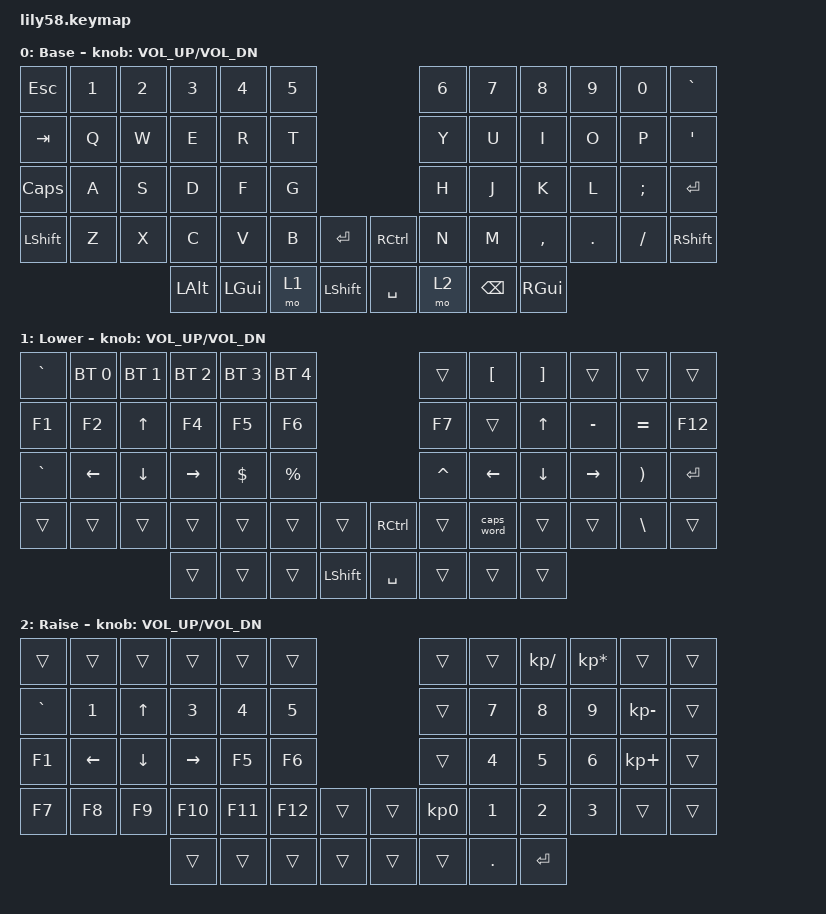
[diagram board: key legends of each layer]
/*
 * Copyright (c) 2020 The ZMK Contributors
 *
 * SPDX-License-Identifier: MIT
 */

#include <behaviors.dtsi>
#include <dt-bindings/zmk/bt.h>
#include <dt-bindings/zmk/keys.h>

/ {
    keymap {
        compatible = "zmk,keymap";

        default_layer {
            // ------------------------------------------------------------------------------------------------------------
            // |  ESC  |  1  |  2  |  3   |  4   |  5   |                   |  6   |  7    |  8    |  9   |   0   |   `   |
            // |  TAB  |  Q  |  W  |  E   |  R   |  T   |                   |  Y   |  U    |  I    |  O   |   P   |   -   |
            // |  CTRL |  A  |  S  |  D   |  F   |  G   |                   |  H   |  J    |  K    |  L   |   ;   |   '   |
            // | SHIFT |  Z  |  X  |  C   |  V   |  B   |   "["  |  |  "]"  |  N   |  M    |  ,    |  .   |   /   | SHIFT |
            //                     | ALT  | GUI  | LOWER|  SPACE |  | ENTER | RAISE| BSPC  | GUI   |

            display-name = "Base";
            bindings = <
&kp ESC       &kp N1  &kp N2  &kp N3    &kp N4    &kp N5                               &kp N6  &kp N7    &kp N8     &kp N9   &kp N0    &kp GRAVE
&kp TAB       &kp Q   &kp W   &kp E     &kp R     &kp T                                &kp Y   &kp U     &kp I      &kp O    &kp P     &kp APOS
&kp CAPSLOCK  &kp A   &kp S   &kp D     &kp F     &kp G                                &kp H   &kp J     &kp K      &kp L    &kp SEMI  &kp ENTER
&kp LSHFT     &kp Z   &kp X   &kp C     &kp V     &kp B   &kp ENTER         &kp RCTRL  &kp N   &kp M     &kp COMMA  &kp DOT  &kp FSLH  &kp RSHFT
                              &kp LALT  &kp LGUI  &mo 1   &kp LEFT_SHIFT    &kp SPACE  &mo 2   &kp BSPC  &kp RGUI
            >;

            sensor-bindings = <&inc_dec_kp C_VOL_UP C_VOL_DN>;
        };

        lower_layer {
            // ------------------------------------------------------------------------------------------------------------
            // | BTCLR | BT1 | BT2 |  BT3 |  BT4 |  BT5 |                   |      |       |       |      |       |       |
            // |  F1   |  F2 |  F3 |  F4  |  F5  |  F6  |                   |  F7  |  F8   |  F9   |  F10 |  F11  |  F12  |
            // |   `   |  !  |  @  |  #   |  $   |  %   |                   |  ^   |  &    |  *    |  (   |   )   |   ~   |
            // |       |     |     |      |      |      |        |  |       |      |  _    |  +    |  {   |   }   |  "|"  |
            //                     |      |      |      |        |  |       |      |       |       |

            display-name = "Lower";
            bindings = <
&kp GRAVE  &bt BT_SEL 0  &bt BT_SEL 1    &bt BT_SEL 2  &bt BT_SEL 3  &bt BT_SEL 4                                       &trans     &kp LEFT_BRACKET  &kp RIGHT_BRACKET  &trans     &trans         &trans
&kp F1     &kp F2        &kp UP_ARROW    &kp F4        &kp F5        &kp F6                                             &kp F7     &trans            &kp UP_ARROW       &kp MINUS  &kp EQUAL      &kp F12
&kp GRAVE  &kp LEFT      &kp DOWN_ARROW  &kp RIGHT     &kp DOLLAR    &kp PRCNT                                          &kp CARET  &kp LEFT          &kp DOWN           &kp RIGHT  &kp RPAR       &kp ENTER
&trans     &trans        &trans          &trans        &trans        &trans        &trans            &kp RIGHT_CONTROL  &trans     &caps_word        &trans             &trans     &kp BACKSLASH  &trans
                                         &trans        &trans        &trans        &kp LEFT_SHIFT    &kp SPACE          &trans     &trans            &trans
            >;

            sensor-bindings = <&inc_dec_kp C_VOL_UP C_VOL_DN>;
        };

        raise_layer {
            // ------------------------------------------------------------------------------------------------------------
            // |       |     |     |      |      |      |                   |      |       |       |      |       |       |
            // |   `   |  1  |  2  |  3   |  4   |  5   |                   |  6   |   7   |   8   |  9   |   0   |       |
            // |   F1  |  F2 |  F3 |  F4  |  F5  |  F6  |                   |      |   <-  |   v   |  ^   |  ->   |       |
            // |   F7  |  F8 |  F9 |  F10 |  F11 |  F12 |        |  |       |  +   |   -   |   =   |  [   |   ]   |   \   |
            //                     |      |      |      |        |  |       |      |       |       |

            display-name = "Raise";
            bindings = <
&trans     &trans    &trans        &trans           &trans   &trans                     &trans           &trans        &kp KP_DIVIDE  &kp KP_MULTIPLY  &trans           &trans
&kp GRAVE  &kp N1    &kp UP_ARROW  &kp N3           &kp N4   &kp N5                     &trans           &kp N7        &kp N8         &kp N9           &kp KP_SUBTRACT  &trans
&kp F1     &kp LEFT  &kp DOWN      &kp RIGHT_ARROW  &kp F5   &kp F6                     &trans           &kp NUMBER_4  &kp N5         &kp NUMBER_6     &kp KP_PLUS      &trans
&kp F7     &kp F8    &kp F9        &kp F10          &kp F11  &kp F12  &trans    &trans  &kp KP_NUMBER_0  &kp NUMBER_1  &kp NUMBER_2   &kp NUMBER_3     &trans           &trans
                                   &trans           &trans   &trans   &trans    &trans  &trans           &kp PERIOD    &kp ENTER
            >;

            sensor-bindings = <&inc_dec_kp C_VOL_UP C_VOL_DN>;
        };
    };
};
